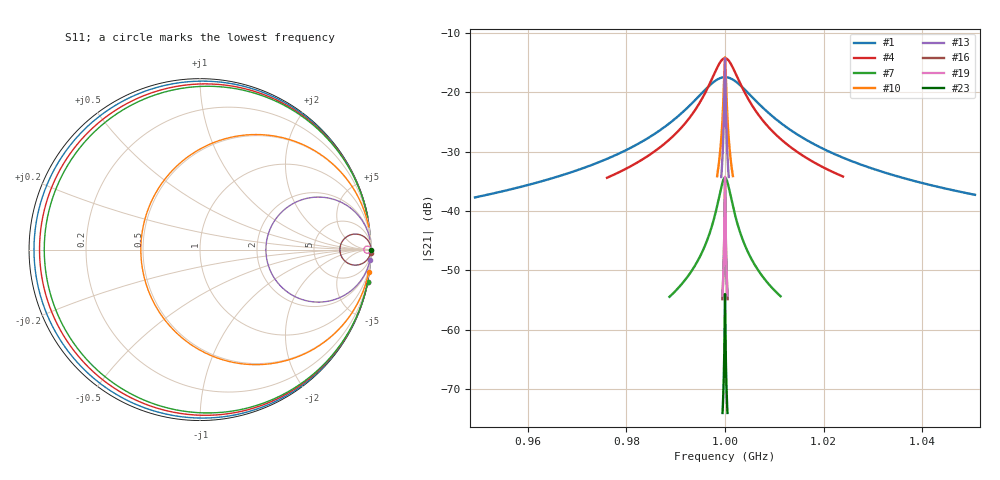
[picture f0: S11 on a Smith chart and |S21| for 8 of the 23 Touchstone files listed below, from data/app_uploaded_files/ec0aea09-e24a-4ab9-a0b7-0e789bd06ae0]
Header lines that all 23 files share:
# Hz S RI R 50
Fixed: Q0 = 10000.000000, f0 = 1000000000.000000, n = 1001, rel_span = 10.000000
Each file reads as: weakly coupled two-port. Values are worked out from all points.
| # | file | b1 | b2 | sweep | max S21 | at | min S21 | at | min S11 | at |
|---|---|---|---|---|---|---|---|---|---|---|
| 1 | output_1_8.s2p | 100.000000 | 0.464159 | 949.3 MHz to 1.051 GHz | -17.44 dB | 1 GHz | -37.7 dB | 949.3 MHz | -0.3 dB | 1 GHz |
| 2 | output_1_11.s2p | 100.000000 | 0.046416 | 949.5 MHz to 1.051 GHz | -27.40 dB | 1 GHz | -47.7 dB | 949.5 MHz | -0.2 dB | 1 GHz |
| 3 | output_1_16.s2p | 100.000000 | 0.001000 | 949.5 MHz to 1.051 GHz | -44.07 dB | 1 GHz | -64.3 dB | 949.5 MHz | -0.2 dB | 1 GHz |
| 4 | output_2_7.s2p | 46.415888 | 0.464159 | 976.1 MHz to 1.024 GHz | -14.25 dB | 1 GHz | -34.4 dB | 976.06 MHz | -0.5 dB | 1 GHz |
| 5 | output_2_15.s2p | 46.415888 | 0.001000 | 976.3 MHz to 1.024 GHz | -40.83 dB | 1 GHz | -61.0 dB | 976.29 MHz | -0.4 dB | 1 GHz |
| 6 | output_3_9.s2p | 21.544347 | 0.046416 | 988.7 MHz to 1.011 GHz | -21.06 dB | 1 GHz | -41.2 dB | 988.7 MHz | -0.8 dB | 1 GHz |
| 7 | output_3_13.s2p | 21.544347 | 0.002154 | 988.7 MHz to 1.011 GHz | -34.37 dB | 1 GHz | -54.5 dB | 988.73 MHz | -0.8 dB | 1 GHz |
| 8 | output_4_8.s2p | 10.000000 | 0.046416 | 994.5 MHz to 1.006 GHz | -18.18 dB | 1 GHz | -38.2 dB | 994.48 MHz | -1.8 dB | 1 GHz |
| 9 | output_4_13.s2p | 10.000000 | 0.001000 | 994.5 MHz to 1.006 GHz | -34.81 dB | 1 GHz | -54.9 dB | 994.5 MHz | -1.7 dB | 1 GHz |
| 10 | output_6_6.s2p | 2.154435 | 0.046416 | 998.4 MHz to 1.002 GHz | -14.08 dB | 1 GHz | -34.1 dB | 998.4 MHz | -9.2 dB | 1 GHz |
| 11 | output_7_5.s2p | 1.000000 | 0.046416 | 999 MHz to 1.001 GHz | -13.53 dB | 1 GHz | -33.6 dB | 998.977 MHz | -32.9 dB | 1 GHz |
| 12 | output_7_10.s2p | 1.000000 | 0.001000 | 999 MHz to 1.001 GHz | -30.00 dB | 1 GHz | -50.1 dB | 999 MHz | -66.0 dB | 1 GHz |
| 13 | output_8_4.s2p | 0.464159 | 0.046416 | 999.2 MHz to 1.001 GHz | -14.23 dB | 1 GHz | -34.3 dB | 999.245 MHz | -8.3 dB | 1 GHz |
| 14 | output_10_1.s2p | 0.100000 | 0.100000 | 999.4 MHz to 1.001 GHz | -15.56 dB | 1 GHz | -35.6 dB | 999.4 MHz | -1.6 dB | 1 GHz |
| 15 | output_10_4.s2p | 0.100000 | 0.010000 | 999.4 MHz to 1.001 GHz | -24.89 dB | 1 GHz | -44.9 dB | 999.445 MHz | -1.7 dB | 1 GHz |
| 16 | output_10_7.s2p | 0.100000 | 0.001000 | 999.4 MHz to 1.001 GHz | -34.82 dB | 1 GHz | -54.9 dB | 999.449 MHz | -1.7 dB | 1 GHz |
| 17 | output_11_2.s2p | 0.046416 | 0.021544 | 999.5 MHz to 1.001 GHz | -24.55 dB | 1 GHz | -44.6 dB | 999.466 MHz | -0.8 dB | 1 GHz |
| 18 | output_12_2.s2p | 0.021544 | 0.010000 | 999.5 MHz to 1.001 GHz | -30.92 dB | 1 GHz | -51.0 dB | 999.484 MHz | -0.4 dB | 1 GHz |
| 19 | output_12_3.s2p | 0.021544 | 0.004642 | 999.5 MHz to 1.001 GHz | -34.20 dB | 1 GHz | -54.2 dB | 999.487 MHz | -0.4 dB | 1 GHz |
| 20 | output_13_1.s2p | 0.010000 | 0.010000 | 999.5 MHz to 1.001 GHz | -34.15 dB | 1 GHz | -54.2 dB | 999.49 MHz | -0.2 dB | 1 GHz |
| 21 | output_14_2.s2p | 0.004642 | 0.002154 | 999.5 MHz to 1.001 GHz | -44.04 dB | 1 GHz | -64.1 dB | 999.497 MHz | -0.1 dB | 1 GHz |
| 22 | output_15_1.s2p | 0.002154 | 0.002154 | 999.5 MHz to 1.001 GHz | -47.35 dB | 1 GHz | -67.4 dB | 999.498 MHz | 0.0 dB | 1 GHz |
| 23 | output_16_1.s2p | 0.001000 | 0.001000 | 999.5 MHz to 1.001 GHz | -54.00 dB | 1 GHz | -74.0 dB | 999.499 MHz | 0.0 dB | 1 GHz |
